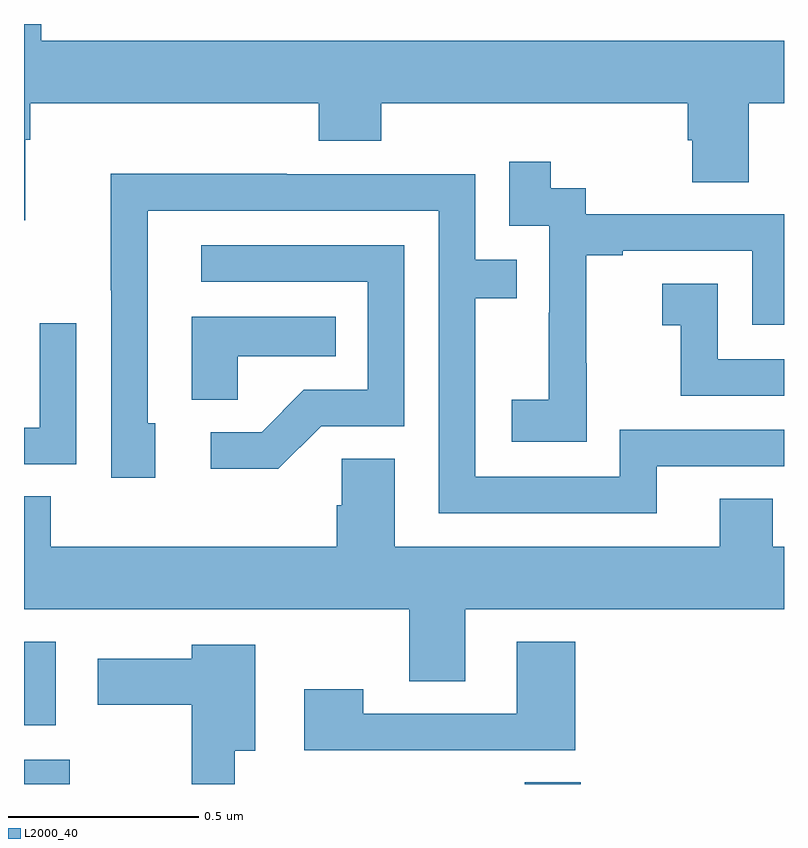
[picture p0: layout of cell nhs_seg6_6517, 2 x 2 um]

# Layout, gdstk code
import gdstk
lib = gdstk.Library(unit=1e-6, precision=1e-09)
def R(c, l, rs):  # rectangles x0, y0, x1, y1
    for r in rs: c.add(gdstk.rectangle(r[:2], r[2:], *l))
def P(c, l, *ps):  # polygons
    for p in ps: c.add(gdstk.Polygon(p, *l))
L2000_40 = (2000, 40)

nhs_seg6_6517 = lib.new_cell('nhs_seg6_6517')
R(nhs_seg6_6517, L2000_40, [(196,989.5,196.12,989.564), (197.318,989.5,197.465,989.504), (196,989.654,196.083,989.875)])
P(nhs_seg6_6517, L2000_40, [(196.003,991.196),(196.016,991.196),(196.016,991.292),(196.775,991.292),(196.775,991.193),(196.94,991.193),(196.94,991.292),(197.747,991.292),(197.747,991.194),(197.759,991.194),(197.759,991.084),(197.907,991.084),(197.907,991.292),(198,991.292),(198,991.456),(196.046,991.456),(196.046,991.5),(196,991.5),(196,990.983),(196.003,990.983)],
  [(197.481,990.607),(197.48,990.607),(197.48,990.891),(197.575,990.891),(197.575,990.903),(197.916,990.903),(197.916,990.708),(198,990.708),(198,990.999),(197.478,990.999),(197.478,991.068),(197.386,991.068),(197.386,991.138),(197.277,991.138),(197.277,990.969),(197.382,990.969),(197.382,990.74),(197.381,990.74),(197.381,990.511),(197.283,990.511),(197.283,990.401),(197.481,990.401)],
  [(197.665,990.336),(198,990.336),(198,990.432),(197.568,990.432),(197.568,990.309),(197.187,990.309),(197.187,990.778),(197.297,990.778),(197.297,990.879),(197.187,990.879),(197.187,991.104),(196.691,991.104),(196.691,991.106),(196.228,991.106),(196.228,990.799),(196.23,990.799),(196.23,990.306),(196.345,990.306),(196.345,990.45),(196.326,990.45),(196.326,991.008),(197.091,991.008),(197.091,990.213),(197.665,990.213)],
  [(196.782,990.441),(197.001,990.441),(197.001,990.918),(196.467,990.918),(196.467,990.822),(196.905,990.822),(196.905,990.537),(196.736,990.537),(196.625,990.426),(196.491,990.426),(196.491,990.329),(196.669,990.329)],
  [(198,990.618),(197.826,990.618),(197.826,990.817),(197.679,990.817),(197.679,990.707),(197.728,990.707),(197.728,990.522),(198,990.522)],
  [(196.563,990.626),(196.82,990.626),(196.82,990.73),(196.442,990.73),(196.442,990.511),(196.563,990.511)],
  [(196.137,990.712),(196.041,990.712),(196.041,990.438),(196,990.438),(196,990.342),(196.137,990.342)],
  [(197.161,989.96),(198,989.96),(198,990.124),(197.97,990.124),(197.97,990.251),(197.831,990.251),(197.831,990.124),(196.975,990.124),(196.975,990.356),(196.836,990.356),(196.836,990.233),(196.823,990.233),(196.823,990.124),(196.07,990.124),(196.07,990.257),(196,990.257),(196,989.96),(197.014,989.96),(197.014,989.77),(197.161,989.77)],
  [(197.45,989.875),(197.297,989.875),(197.297,989.685),(196.893,989.685),(196.893,989.749),(196.737,989.749),(196.737,989.589),(197.45,989.589)],
  [(196.555,989.588),(196.609,989.588),(196.609,989.866),(196.442,989.866),(196.442,989.83),(196.194,989.83),(196.194,989.708),(196.442,989.708),(196.442,989.5),(196.555,989.5)])

lib.write_gds('nhs_seg6_6517.gds')
